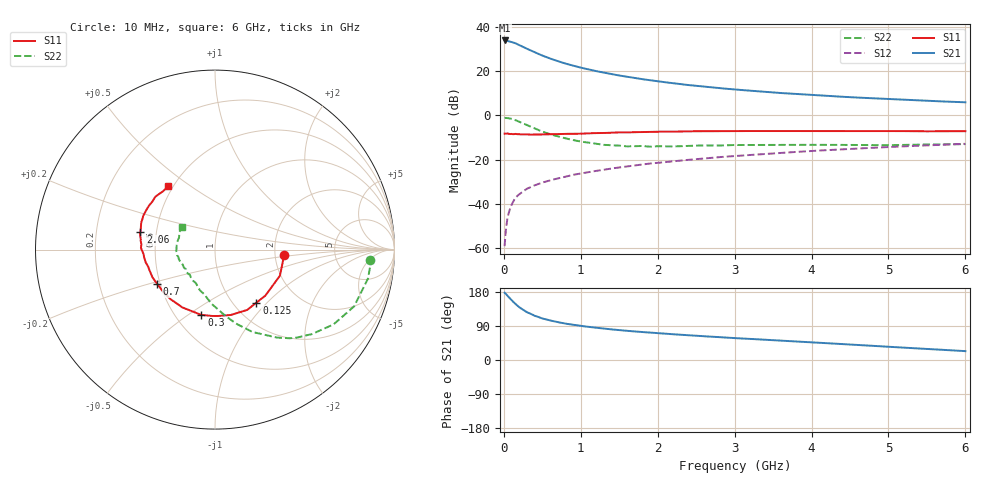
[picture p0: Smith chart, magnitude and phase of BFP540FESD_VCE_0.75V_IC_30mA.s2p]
! Infineon Technologies  Discrete & RF Semiconductors
! BFP540FESD
! VCE = 0.75 V,  IC =  30 mA
! Common Emitter S-Parameters:  Nov 2015
# GHz  S  MA  R  50
!  f  S11  S21  S12  S22
! GHz  MAG  ANG  MAG  ANG  MAG  ANG  MAG  ANG
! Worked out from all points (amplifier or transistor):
!   210 points, 10 MHz to 6 GHz, reference 50 ohm
!   highest |S21| = 33.9 dB at 10 MHz (marker M1)
!   |S21| within 3 dB of that: start of sweep to 256.5 MHz
!   unconditionally stable (mu >= 1): start of sweep to 19.81 MHz; 1.351 GHz to end of sweep
!   at 185 MHz: K = 0.41, MSG = 34.1 dB, |S12| = -36.1 dB
!   at 1.52 GHz: K = 1.02, MAG = 19.8 dB, |S12| = -23.5 dB
!   at 6 GHz: K = 1.16, MAG = 7.0 dB, |S12| = -12.9 dB
!   S11 on the Smith chart (normalised r, x): 10 MHz: 2.24, -0.15; 125 MHz: 1.26, -0.87; 300 MHz: 0.67, -0.56; 700 MHz: 0.48, -0.22; 2.06 GHz: 0.41, +0.10; 6 GHz: 0.47, +0.41
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0.01  0.3849 -4.2  49.33 177.6  0.0011 102.1  0.8665 -3.9
0.02  0.3839 -11.1  48.13 175.8  0.0019 108.4  0.8734 -3.5
0.05  0.3897 -22.0  47.94 169.0  0.005 85.0  0.8676 -10.7
0.1  0.3801 -42.3  45.67 157.8  0.0094 80.5  0.8373 -22.2
0.125  0.3749 -52.1  44.05 153.0  0.0115 75.9  0.8059 -27.1
0.15  0.3809 -61.9  42.76 147.9  0.0136 72.8  0.7807 -32.3
0.2  0.3747 -76.4  38.97 139.3  0.0164 70.2  0.7163 -41.1
0.24  0.3703 -87.2  36.05 133.8  0.0184 67.7  0.6687 -47.2
0.3  0.3719 -101.8  32.09 126.1  0.0219 65.6  0.599 -54.9
0.4  0.3699 -119.4  26.59 116.7  0.0261 63.6  0.5046 -65.5
0.5  0.3712 -132.2  22.45 109.6  0.0302 61.6  0.4288 -74.1
0.6  0.3726 -141.6  19.2 104.3  0.0337 61.9  0.3742 -81.0
0.7  0.3747 -149.2  16.81 99.8  0.0376 62.2  0.3346 -87.0
0.8  0.3812 -156.2  14.83 96.0  0.0408 62.1  0.302 -93.8
1.02  0.3858 -166.5  11.76 89.5  0.0491 62.1  0.2522 -105.1
1.5  0.4128 178.7  7.952 78.9  0.0663 61.4  0.2075 -129.8
2.02  0.4266 167.5  5.812 70.4  0.0849 58.9  0.1998 -150.1
2.06  0.4268 167.0  5.701 69.8  0.0863 58.7  0.1992 -151.3
3.1  0.4417 153.8  3.725 56.8  0.1234 53.0  0.2134 -172.4
4.1  0.4413 145.8  2.821 45.5  0.1598 46.3  0.2148 173.9
5.1  0.4419 137.1  2.294 33.8  0.1956 37.7  0.2129 160.0
6  0.4385 126.3  1.971 23.4  0.2271 29.9  0.2231 146.5
